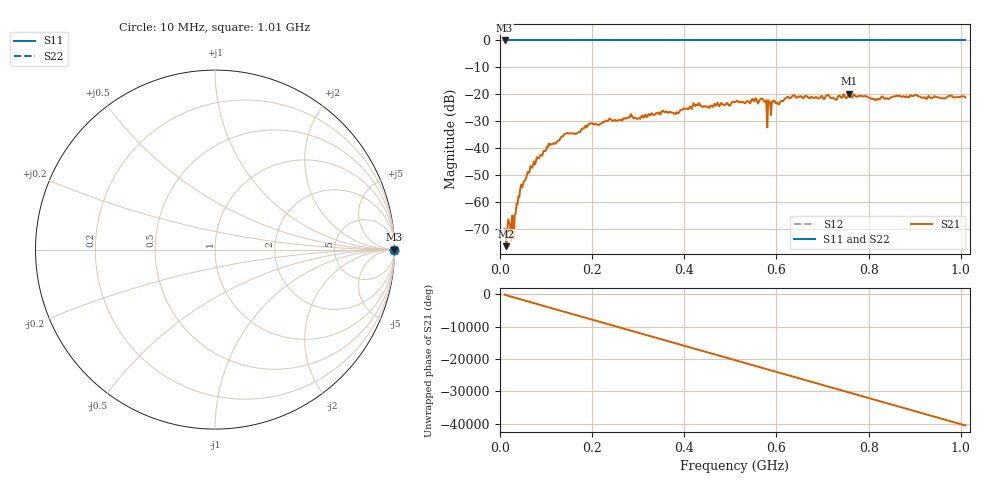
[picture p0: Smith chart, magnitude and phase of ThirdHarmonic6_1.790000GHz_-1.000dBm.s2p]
! 8/16/2025 9:39:19 PM
! C:\ANRITSUVNA\TEMP\TEMP.S2P
! CHANNEL.1
! TR.MEASUREMENT
! RAW.DATA
! RF.CORRECTION.OFF
! AVERAGING.OFF
! IF.BANDWIDTH: 5KHZ
! SWEEPTYPE:  FREQ.SWEEP(Linear)
! Reference Plane Port Info
! PORT:  PORT1  PORT2
! DISTANCE:  0  m  0  m
! TIME:  0  s  0  s
! PHASE.OFFSET:  0  deg.  0  deg.
! LOSS:  0  dB  0  dB
! REF.LOSS:  0  dB  0  dB
! REF.FREQ:  0  Hz  0  Hz
! Power Info
! POWER:  -20  dBm  -20  dBm
! EFF.POWER:  -20  dBm  -20  dBm
! SOURCE.ATTEN:  0  dB  0  dB
! TEST.ATTEN:  0  dB  0  dB
# GHZ S RI R 50.0
! FREQ.GHZ  S11RE  S11IM  S21RE  S21IM  S12RE  S12IM  S22RE  S22IM
!; PortSelection: Port_12
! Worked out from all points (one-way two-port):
!   501 points, 10 MHz to 1.01 GHz, reference 50 ohm
!   highest |S21| = -19.73 dB at 758 MHz (marker M1); lowest = -76.3 dB at 14 MHz (marker M2)
!   lowest |S11| = 0.0 dB at 10 MHz (marker M3)
!   |S11| at or under -10 dB: nowhere
!   |S22| runs from 0.0 to 0.0 dB; largest |S21 - S12| = 1.1
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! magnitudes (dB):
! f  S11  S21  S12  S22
! 10 MHz  0.0  -69.9  0.0  0.0
! 14 MHz  0.0  -76.3  0.0  0.0
! 22 MHz  0.0  -68.7  0.0  0.0
! 28 MHz  0.0  -65.1  0.0  0.0
! 44 MHz  0.0  -54.9  0.0  0.0
! 70 MHz  0.0  -47.2  0.0  0.0
! 106 MHz  0.0  -38.3  0.0  0.0
! 144 MHz  0.0  -34.5  0.0  0.0
! 178 MHz  0.0  -32.7  0.0  0.0
! 196 MHz  0.0  -30.7  0.0  0.0
! 344 MHz  0.0  -27.2  0.0  0.0
! 510 MHz  0.0  -22.9  0.0  0.0
! 568 MHz  0.0  -21.5  0.0  0.0
! 584 MHz  0.0  -23.1  0.0  0.0
! 586 MHz  0.0  -22.9  0.0  0.0
! 594 MHz  0.0  -22.2  0.0  0.0
! 604 MHz  0.0  -23.6  0.0  0.0
! 622 MHz  0.0  -21.2  0.0  0.0
! 678 MHz  0.0  -21.2  0.0  0.0
! 758 MHz  0.0  -19.7  0.0  0.0
! 844 MHz  0.0  -21.7  0.0  0.0
! 1.01 GHz  0.0  -21.2  0.0  0.0
